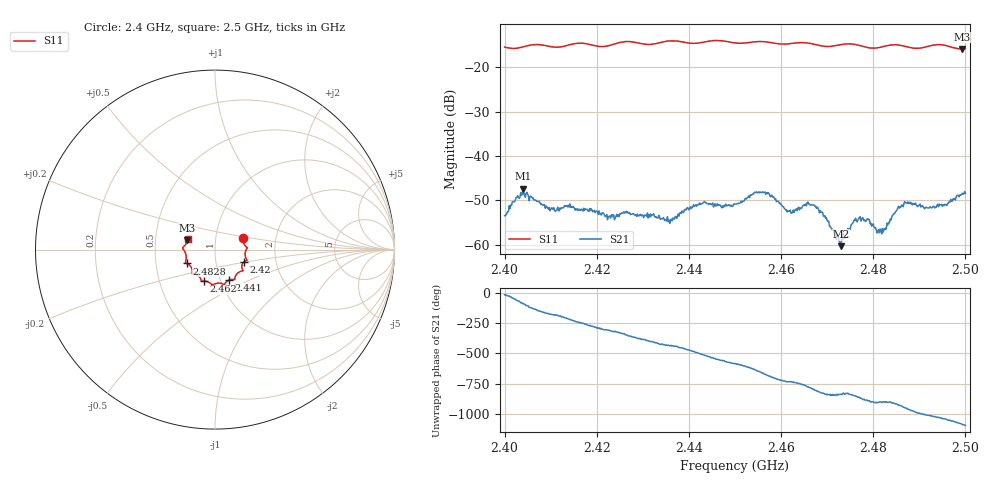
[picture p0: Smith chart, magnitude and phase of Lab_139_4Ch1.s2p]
# Hz S RI R 50
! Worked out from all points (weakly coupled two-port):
!   601 points, 2.4 GHz to 2.5 GHz, reference 50 ohm
!   highest |S21| = -47.35 dB at 2.404 GHz (marker M1); lowest = -60.3 dB at 2.473 GHz (marker M2)
!   lowest |S11| = -15.8 dB at 2.4993 GHz (marker M3), VSWR 1.39, Z = 36.5 + j3.86 ohm
!   |S11| at or under -10 dB: start of sweep to end of sweep
!   S12 and S22 are empty: the file has one direction only
!   S11 on the Smith chart (normalised r, x): 2.4 GHz: 1.36, +0.18; 2.42 GHz: 1.36, -0.20; 2.441 GHz: 1.10, -0.39; 2.462 GHz: 0.84, -0.30; 2.4828 GHz: 0.72, -0.11; 2.5 GHz: 0.73, +0.09
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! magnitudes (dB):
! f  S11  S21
! 2.4 GHz  -15.4  -53.4
! 2.404 GHz  -15.4  -47.4
! 2.41 GHz  -15.3  -52.1
! 2.4167 GHz  -14.5  -51.9
! 2.42 GHz  -15.2  -52.4
! 2.4333 GHz  -14.5  -53.9
! 2.436 GHz  -14.0  -54.4
! 2.441 GHz  -14.6  -51.0
! 2.45 GHz  -14.5  -50.8
! 2.456 GHz  -14.2  -48.1
! 2.462 GHz  -14.6  -52.2
! 2.4667 GHz  -14.6  -50.9
! 2.473 GHz  -14.8  -60.3
! 2.4767 GHz  -14.9  -54.5
! 2.479 GHz  -15.6  -54.3
! 2.4813 GHz  -15.5  -57.3
! 2.4828 GHz  -15.1  -56.4
! 2.4833 GHz  -15.0  -54.9
! 2.4872 GHz  -15.3  -50.6
! 2.4932 GHz  -14.9  -51.3
! 2.4993 GHz  -15.8  -48.4
! 2.5 GHz  -15.7  -48.4
